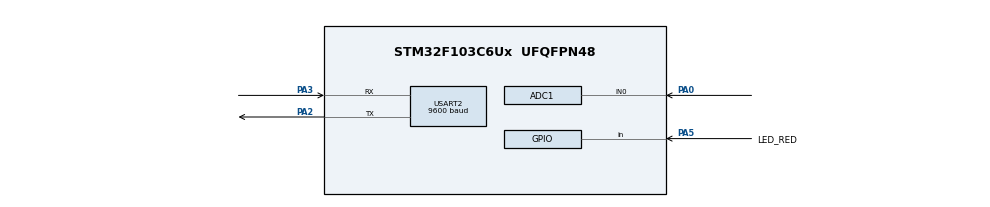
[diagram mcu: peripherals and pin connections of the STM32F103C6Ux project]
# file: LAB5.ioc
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ADC1.Channel-0\#ChannelRegularConversion=ADC_CHANNEL_0
ADC1.ContinuousConvMode=ENABLE
ADC1.NbrOfConversionFlag=1
ADC1.Rank-0\#ChannelRegularConversion=1
ADC1.SamplingTime-0\#ChannelRegularConversion=ADC_SAMPLETIME_1CYCLE_5
ADC1.master=1
Mcu.Family=STM32F1
Mcu.Name=STM32F103C6Ux
Mcu.Package=UFQFPN48
NVIC.PriorityGroup=NVIC_PRIORITYGROUP_4
NVIC.TIM2_IRQn=true\:0\:0\:false\:false\:true\:true\:true\:true
NVIC.USART2_IRQn=true\:0\:0\:false\:false\:true\:true\:true\:true
PA0-WKUP.Signal=ADCx_IN0
PA2.Mode=Asynchronous
PA2.Signal=USART2_TX
PA3.Mode=Asynchronous
PA3.Signal=USART2_RX
PA5.GPIO_Label=LED_RED
PA5.Signal=GPIO_Input
ProjectManager.HeapSize=0x200
ProjectManager.StackSize=0x400
ProjectManager.TargetToolchain=STM32CubeIDE
RCC.APB1Freq_Value=8000000
RCC.APB2Freq_Value=8000000
SH.ADCx_IN0.0=ADC1_IN0,IN0
TIM2.Period=9
TIM2.Prescaler=7999
USART2.BaudRate=9600
USART2.VirtualMode=VM_ASYNC
VP_TIM2_VS_ClockSourceINT.Mode=Internal
board=custom

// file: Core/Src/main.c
/* USER CODE BEGIN Header */
/**
 ******************************************************************************
 * @file           : main.c
 * @brief          : Main program body
 ******************************************************************************
 * @attention
 *
 * <h2><center>&copy; Copyright (c) 2021 STMicroelectronics.
 * All rights reserved.</center></h2>
 *
 * This software component is licensed by ST under BSD 3-Clause license,
 * the "License"; You may not use this file except in compliance with the
 * License. You may obtain a copy of the License at:
 *                        opensource.org/licenses/BSD-3-Clause
 *
 ******************************************************************************
 */
/* USER CODE END Header */
#include "main.h"

/* USER CODE BEGIN Includes */
#include "timer.h"
#include "command_parser.h"
#include "uart_communication.h"
/* USER CODE END Includes */

ADC_HandleTypeDef hadc1;
UART_HandleTypeDef huart2;
TIM_HandleTypeDef htim2;

void SystemClock_Config(void);
static void MX_GPIO_Init(void);
static void MX_ADC1_Init(void);
static void MX_TIM2_Init(void);
static void MX_USART2_UART_Init(void);

/* USER CODE BEGIN 0 */
unsigned char temp = 0;
uint8_t buffer[MAX_BUFFER_SIZE] = "!ADC=";
uint8_t index_buffer = 0;
uint8_t flagSendData = 0;

void HAL_UART_RxCpltCallback(UART_HandleTypeDef *huart) {
	if (huart->Instance == USART2) {
		HAL_UART_Receive_IT(&huart2, &temp, 1);
		HAL_UART_Transmit(&huart2, &temp, 1, 200);
		command_parser_fsm();
	}
}
/* USER CODE END 0 */

int main(void) {

	/* MCU Configuration--------------------------------------------------------*/

	/* Reset of all peripherals, Initializes the Flash interface and the Systick. */
	HAL_Init();

	/* Configure the system clock */
	SystemClock_Config();

	/* Initialize all configured peripherals */
	MX_GPIO_Init();
	MX_ADC1_Init();
	MX_TIM2_Init();
	MX_USART2_UART_Init();
	/* USER CODE BEGIN 2 */
	HAL_TIM_Base_Start_IT(&htim2);
	HAL_UART_Receive_IT(&huart2, &temp, 1);

	setTimer1(10);
	setTimer2(10);
	/* USER CODE END 2 */

	/* Infinite loop */
	/* USER CODE BEGIN WHILE */
	while (1) {
		if (timer1_flag == 1) {
			HAL_GPIO_TogglePin(GPIOA, GPIO_PIN_5);
			setTimer1(500);
		}
		uart_communiation_fsm();
		/* USER CODE END WHILE */

	}
}

void SystemClock_Config(void) {
	RCC_OscInitTypeDef RCC_OscInitStruct = { 0 };
	RCC_ClkInitTypeDef RCC_ClkInitStruct = { 0 };
	RCC_PeriphCLKInitTypeDef PeriphClkInit = { 0 };

	/** Initializes the RCC Oscillators according to the specified parameters
	 * in the RCC_OscInitTypeDef structure.
	 */
	RCC_OscInitStruct.OscillatorType = RCC_OSCILLATORTYPE_HSI;
	RCC_OscInitStruct.HSIState = RCC_HSI_ON;
	RCC_OscInitStruct.HSICalibrationValue = RCC_HSICALIBRATION_DEFAULT;
	RCC_OscInitStruct.PLL.PLLState = RCC_PLL_NONE;
	if (HAL_RCC_OscConfig(&RCC_OscInitStruct) != HAL_OK) {
		Error_Handler();
	}
	/** Initializes the CPU, AHB and APB buses clocks
	 */
	RCC_ClkInitStruct.ClockType = RCC_CLOCKTYPE_HCLK | RCC_CLOCKTYPE_SYSCLK
			| RCC_CLOCKTYPE_PCLK1 | RCC_CLOCKTYPE_PCLK2;
	RCC_ClkInitStruct.SYSCLKSource = RCC_SYSCLKSOURCE_HSI;
	RCC_ClkInitStruct.AHBCLKDivider = RCC_SYSCLK_DIV1;
	RCC_ClkInitStruct.APB1CLKDivider = RCC_HCLK_DIV1;
	RCC_ClkInitStruct.APB2CLKDivider = RCC_HCLK_DIV1;

	if (HAL_RCC_ClockConfig(&RCC_ClkInitStruct, FLASH_LATENCY_0) != HAL_OK) {
		Error_Handler();
	}
	PeriphClkInit.PeriphClockSelection = RCC_PERIPHCLK_ADC;
	PeriphClkInit.AdcClockSelection = RCC_ADCPCLK2_DIV2;
	if (HAL_RCCEx_PeriphCLKConfig(&PeriphClkInit) != HAL_OK) {
		Error_Handler();
	}
}

static void MX_ADC1_Init(void) {

	ADC_ChannelConfTypeDef sConfig = { 0 };

	/** Common config
	 */
	hadc1.Instance = ADC1;
	hadc1.Init.ScanConvMode = ADC_SCAN_DISABLE;
	hadc1.Init.ContinuousConvMode = ENABLE;
	hadc1.Init.DiscontinuousConvMode = DISABLE;
	hadc1.Init.ExternalTrigConv = ADC_SOFTWARE_START;
	hadc1.Init.DataAlign = ADC_DATAALIGN_RIGHT;
	hadc1.Init.NbrOfConversion = 1;
	if (HAL_ADC_Init(&hadc1) != HAL_OK) {
		Error_Handler();
	}
	/** Configure Regular Channel
	 */
	sConfig.Channel = ADC_CHANNEL_0;
	sConfig.Rank = ADC_REGULAR_RANK_1;
	sConfig.SamplingTime = ADC_SAMPLETIME_1CYCLE_5;
	if (HAL_ADC_ConfigChannel(&hadc1, &sConfig) != HAL_OK) {
		Error_Handler();
	}

}

static void MX_TIM2_Init(void) {

	TIM_ClockConfigTypeDef sClockSourceConfig = { 0 };
	TIM_MasterConfigTypeDef sMasterConfig = { 0 };

	htim2.Instance = TIM2;
	htim2.Init.Prescaler = 7999;
	htim2.Init.CounterMode = TIM_COUNTERMODE_UP;
	htim2.Init.Period = 9;
	htim2.Init.ClockDivision = TIM_CLOCKDIVISION_DIV1;
	htim2.Init.AutoReloadPreload = TIM_AUTORELOAD_PRELOAD_DISABLE;
	if (HAL_TIM_Base_Init(&htim2) != HAL_OK) {
		Error_Handler();
	}
	sClockSourceConfig.ClockSource = TIM_CLOCKSOURCE_INTERNAL;
	if (HAL_TIM_ConfigClockSource(&htim2, &sClockSourceConfig) != HAL_OK) {
		Error_Handler();
	}
	sMasterConfig.MasterOutputTrigger = TIM_TRGO_RESET;
	sMasterConfig.MasterSlaveMode = TIM_MASTERSLAVEMODE_DISABLE;
	if (HAL_TIMEx_MasterConfigSynchronization(&htim2, &sMasterConfig)
			!= HAL_OK) {
		Error_Handler();
	}

}

static void MX_USART2_UART_Init(void) {

	huart2.Instance = USART2;
	huart2.Init.BaudRate = 9600;
	huart2.Init.WordLength = UART_WORDLENGTH_8B;
	huart2.Init.StopBits = UART_STOPBITS_1;
	huart2.Init.Parity = UART_PARITY_NONE;
	huart2.Init.Mode = UART_MODE_TX_RX;
	huart2.Init.HwFlowCtl = UART_HWCONTROL_NONE;
	huart2.Init.OverSampling = UART_OVERSAMPLING_16;
	if (HAL_UART_Init(&huart2) != HAL_OK) {
		Error_Handler();
	}

}

static void MX_GPIO_Init(void) {
	GPIO_InitTypeDef GPIO_InitStruct = { 0 };

	/* GPIO Ports Clock Enable */
	__HAL_RCC_GPIOA_CLK_ENABLE();

	/*Configure GPIO pin Output Level */
	HAL_GPIO_WritePin(GPIOA, GPIO_PIN_5, GPIO_PIN_RESET);

	/*Configure GPIO pin : PA5 */
	GPIO_InitStruct.Pin = GPIO_PIN_5;
	GPIO_InitStruct.Mode = GPIO_MODE_OUTPUT_PP;
	GPIO_InitStruct.Pull = GPIO_NOPULL;
	GPIO_InitStruct.Speed = GPIO_SPEED_FREQ_LOW;
	HAL_GPIO_Init(GPIOA, &GPIO_InitStruct);

}

/* USER CODE BEGIN 4 */
void HAL_TIM_PeriodElapsedCallback(TIM_HandleTypeDef *htim) {
	timerRun();
}
/* USER CODE END 4 */

void Error_Handler(void) {
	__disable_irq();
	while (1) {
	}
}

/************************ (C) COPYRIGHT STMicroelectronics *****END OF FILE****/
